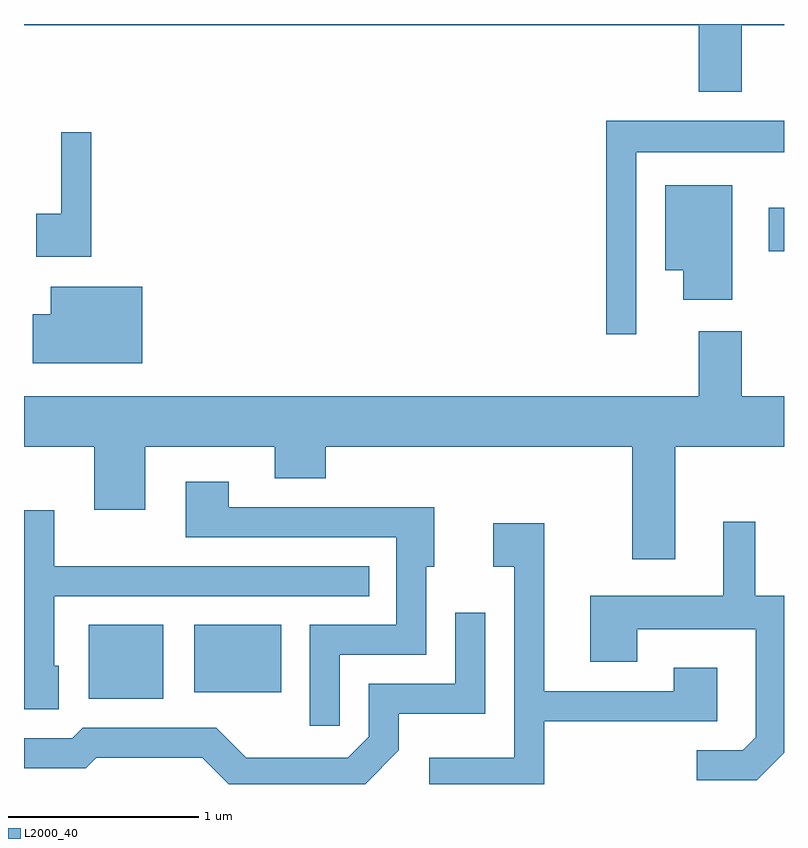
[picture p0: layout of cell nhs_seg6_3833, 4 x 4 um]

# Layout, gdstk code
import gdstk
lib = gdstk.Library(unit=1e-6, precision=1e-09)
def R(c, l, rs):  # rectangles x0, y0, x1, y1
    for r in rs: c.add(gdstk.rectangle(r[:2], r[2:], *l))
def P(c, l, *ps):  # polygons
    for p in ps: c.add(gdstk.Polygon(p, *l))
L2000_40 = (2000, 40)

nhs_seg6_3833 = lib.new_cell('nhs_seg6_3833')
R(nhs_seg6_3833, L2000_40, [(299.951,1648.611,300.344,1648.999), (300.506,1648.646,300.964,1648.999), (303.531,1650.966,303.611,1651.194)])
P(nhs_seg6_3833, L2000_40, [(303.389,1652.156),(303.611,1652.156),(303.611,1652.162),(299.611,1652.162),(299.611,1652.156),(303.161,1652.156),(303.161,1651.806),(303.389,1651.806)],
  [(302.834,1651.486),(303.611,1651.486),(303.611,1651.654),(302.676,1651.654),(302.676,1650.528),(302.834,1650.528)],
  [(299.964,1651.593),(299.806,1651.593),(299.806,1651.164),(299.676,1651.164),(299.676,1650.936),(299.964,1650.936)],
  [(303.339,1651.314),(302.986,1651.314),(302.986,1650.866),(303.081,1650.866),(303.081,1650.711),(303.339,1650.711)],
  [(300.234,1650.779),(299.751,1650.779),(299.751,1650.634),(299.656,1650.634),(299.656,1650.376),(300.234,1650.376)],
  [(303.039,1649.936),(303.611,1649.936),(303.611,1650.204),(303.389,1650.204),(303.389,1650.544),(303.161,1650.544),(303.161,1650.204),(299.611,1650.204),(299.611,1649.936),(299.981,1649.936),(299.981,1649.606),(300.249,1649.606),(300.249,1649.936),(300.931,1649.936),(300.931,1649.771),(301.199,1649.771),(301.199,1649.936),(302.811,1649.936),(302.811,1649.346),(303.039,1649.346)],
  [(301.274,1648.841),(301.729,1648.841),(301.729,1649.306),(301.769,1649.306),(301.769,1649.619),(300.689,1649.619),(300.689,1649.754),(300.461,1649.754),(300.461,1649.461),(301.571,1649.461),(301.571,1648.999),(301.116,1648.999),(301.116,1648.468),(301.274,1648.468)],
  [(299.794,1648.784),(299.769,1648.784),(299.769,1649.151),(301.428,1649.151),(301.428,1649.309),(299.769,1649.309),(299.769,1649.604),(299.611,1649.604),(299.611,1648.556),(299.794,1648.556)],
  [(303.611,1648.326),(303.611,1649.154),(303.459,1649.154),(303.459,1649.543),(303.291,1649.543),(303.291,1649.154),(302.591,1649.154),(302.591,1648.806),(302.839,1648.806),(302.839,1648.976),(303.461,1648.976),(303.461,1648.407),(303.394,1648.339),(303.153,1648.339),(303.153,1648.181),(303.467,1648.181)],
  [(302.349,1648.491),(303.259,1648.491),(303.259,1648.774),(303.031,1648.774),(303.031,1648.649),(302.349,1648.649),(302.349,1649.534),(302.081,1649.534),(302.081,1649.306),(302.191,1649.306),(302.191,1648.299),(301.743,1648.299),(301.743,1648.162),(302.349,1648.162)],
  [(301.584,1648.339),(301.584,1648.531),(302.039,1648.531),(302.039,1649.063),(301.881,1649.063),(301.881,1648.689),(301.426,1648.689),(301.426,1648.412),(301.314,1648.299),(300.782,1648.299),(300.622,1648.459),(299.919,1648.459),(299.864,1648.404),(299.611,1648.404),(299.611,1648.246),(299.937,1648.246),(299.992,1648.301),(300.549,1648.301),(300.688,1648.162),(301.408,1648.162)])

lib.write_gds('nhs_seg6_3833.gds')
